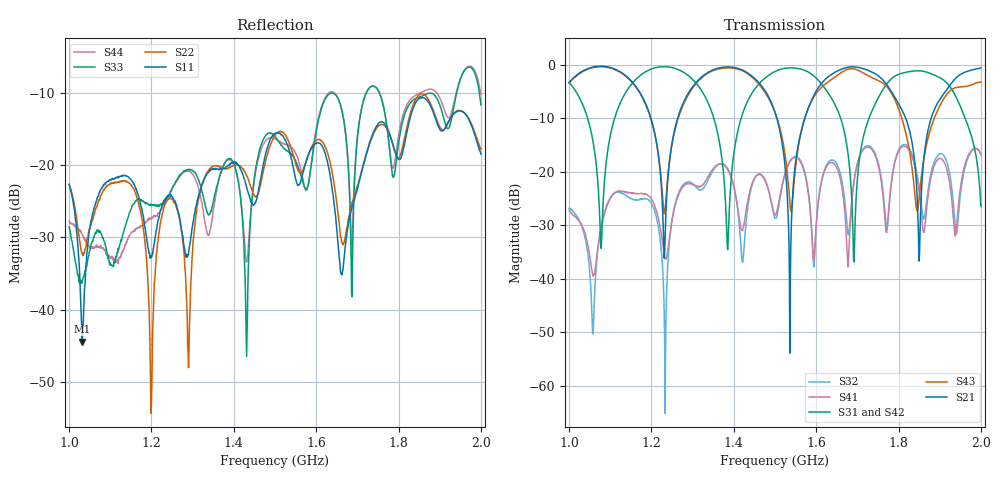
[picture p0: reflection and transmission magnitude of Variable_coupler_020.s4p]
#  HZ  S  DB  R  50.00
! Rohde & Schwarz Vector Network Analyzer
! Rohde-Schwarz,ZNB8-4Port,1311601044102961,2.82
! Created: UTC 1/17/2019, 3:09:22 PM
! freq[Hz]  db:S11  ang:S11  db:S12  ang:S12  db:S13  ang:S13  db:S14  ang:S14
!  db:S21  ang:S21  db:S22  ang:S22  db:S23  ang:S23  db:S24  ang:S24
!  db:S31  ang:S31  db:S32  ang:S32  db:S33  ang:S33  db:S34  ang:S34
!  db:S41  ang:S41  db:S42  ang:S42  db:S43  ang:S43  db:S44  ang:S44
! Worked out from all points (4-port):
!   1001 points, 1 GHz to 2 GHz, reference 50 ohm
!   strongest paths, dB at 1 GHz, 1.25 GHz, 1.5 GHz, 1.75 GHz, 2 GHz:
!     S21: -3.4, -14.6, -8.9, -2.1, -0.6
!     S43: -3.4, -14.8, -8.9, -2.9, -3.3
!     S31: -3.3, -0.6, -1.3, -6.3, -26.5
!     S42: -3.3, -0.6, -1.3, -6.3, -26.2
!     S41: -27.2, -29.1, -28.0, -18.6, -16.8
!     S32: -26.8, -28.9, -28.7, -18.1, -16.7
!   lowest |S11| = -44.5 dB at 1.032 GHz (marker M1), VSWR 1.01, Z = 49.8 + j0.566 ohm
!   |S11| at or under -10 dB: start of sweep to end of sweep
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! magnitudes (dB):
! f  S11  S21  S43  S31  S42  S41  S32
! 1 GHz  -22.7  -3.4  -3.4  -3.3  -3.3  -27.2  -26.8
! 1.032 GHz  -44.5  -1.2  -1.4  -7.3  -7.4  -30.3  -30.5
! 1.078 GHz  -23.3  -0.3  -0.4  -34.3  -48.1  -30.4  -30.2
! 1.231 GHz  -24.9  -36.1  -27.8  -0.4  -0.4  -35.5  -46.6
! 1.385 GHz  -20.2  -0.4  -0.6  -34.5  -40.7  -19.6  -19.4
! 1.536 GHz  -18.3  -53.9  -25.6  -0.6  -0.7  -18.1  -18.0
! 2 GHz  -18.5  -0.6  -3.3  -26.5  -26.2  -16.8  -16.7
